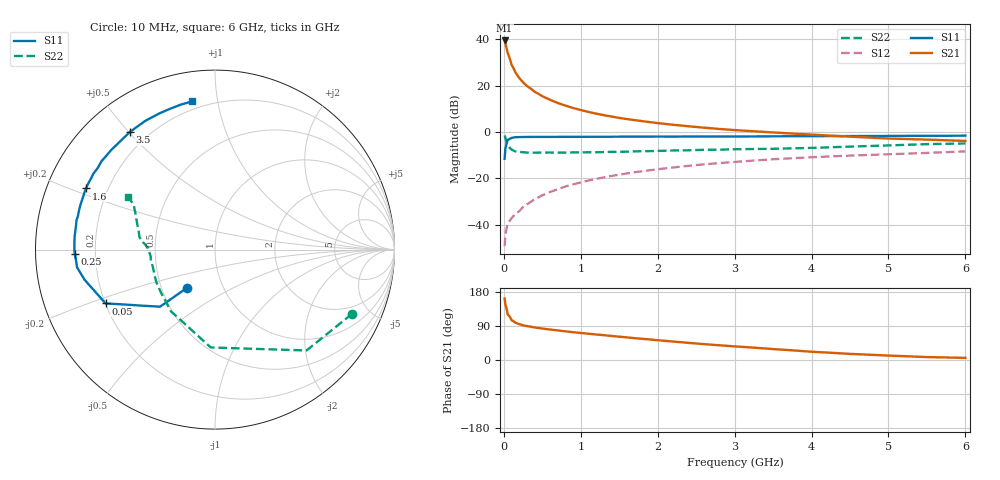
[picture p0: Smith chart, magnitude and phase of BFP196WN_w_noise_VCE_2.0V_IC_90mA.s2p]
! Infineon Technologies  Discrete & RF Semiconductors
! BFP196WN
! VCE =  2.0 V,  IC =  90 mA
! Common Emitter S-Parameters:  Jan 2017
# GHz  S  MA  R  50
!  f  S11  S21  S12  S22
! GHz  MAG  ANG  MAG  ANG  MAG  ANG  MAG  ANG
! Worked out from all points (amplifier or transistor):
!   77 points, 10 MHz to 6 GHz, reference 50 ohm
!   highest |S21| = 39.4 dB at 10 MHz (marker M1)
!   |S21| within 3 dB of that: start of sweep to 32.85 MHz
!   unconditionally stable (mu >= 1): 391.5 MHz to 2.761 GHz
!   at 130 MHz: K = 0.74, MSG = 31.6 dB, |S12| = -36.0 dB
!   at 2.2 GHz: K = 1.03, MAG = 8.2 dB, |S12| = -15.3 dB
!   at 6 GHz: K = 0.94, MSG = 2.3 dB, |S12| = -8.3 dB
!   lowest NFmin = 1.69 dB at 450 MHz
!   S11 on the Smith chart (normalised r, x): 10 MHz: 0.67, -0.31; 50 MHz: 0.20, -0.22; 250 MHz: 0.12, -0.02; 1.6 GHz: 0.12, +0.22; 3.5 GHz: 0.13, +0.50; 6 GHz: 0.15, +0.84
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0.01  0.2655 -126.3  93.3 162.3  0.0035 76.7  0.843 -25.2
0.02  0.4413 -133.9  80.43 146.2  0.0063 66.3  0.7587 -47.8
0.05  0.6795 -153.8  50.48 120.1  0.0105 51.6  0.5456 -92.5
0.1  0.7465 -167.1  28.04 105.0  0.0139 53.6  0.4222 -125.6
0.15  0.7751 -172.7  19.27 98.5  0.0173 57.6  0.3839 -141.9
0.2  0.7771 -176.0  14.55 94.5  0.0198 62.6  0.3743 -150.7
0.25  0.7818 -178.2  11.71 91.7  0.0244 63.9  0.3668 -156.1
0.3  0.7836 179.8  9.788 89.5  0.0277 66.2  0.3616 -160.5
0.4  0.7846 176.7  7.377 85.8  0.0353 70.6  0.3596 -165.5
0.5  0.7855 174.3  5.907 83.0  0.0435 71.3  0.3609 -169.0
0.6  0.785 172.0  4.936 80.4  0.0512 71.4  0.3622 -171.8
0.7  0.786 170.1  4.226 78.1  0.0587 72.1  0.3601 -173.6
0.9  0.7862 166.1  3.288 73.4  0.0747 71.7  0.3641 -176.2
1.1  0.7894 162.7  2.706 69.3  0.0905 70.9  0.3665 -178.6
1.3  0.7906 159.4  2.302 65.5  0.1056 69.6  0.3706 -179.7
1.6  0.7944 154.6  1.899 59.7  0.1286 67.5  0.3777 177.8
2.1  0.7973 146.7  1.494 50.5  0.1653 63.4  0.3962 175.0
3.1  0.8015 131.7  1.075 34.6  0.2337 54.2  0.428 169.9
3.5  0.8089 125.9  0.979 28.8  0.2594 50.5  0.4357 167.0
4.1  0.8156 117.4  0.862 20.7  0.2914 44.9  0.4612 160.6
5.1  0.8246 106.7  0.716 10.9  0.3367 36.9  0.5216 151.0
6  0.8353 98.9  0.643 5.6  0.383 30.8  0.5677 148.9
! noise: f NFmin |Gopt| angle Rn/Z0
0.45  1.69  0.59  -175  0.05
0.9  1.82  0.6  -168  0.07
1.9  2.82  0.71  -146  0.23
2.4  3.6  0.72  -138  0.39
